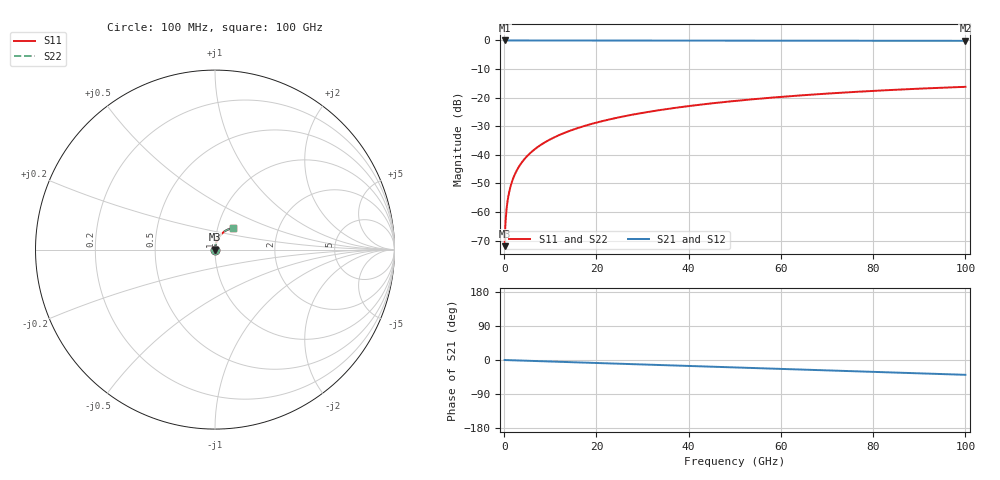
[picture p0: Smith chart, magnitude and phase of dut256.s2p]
! Touchstone file exported from HFSS 2026.1.0
!  File:  C:/ffzhzh/LocalFiles/Ansys_Project_Files/temp_train_TSV_256_1783508406_55944.aedt
!  Generated:  07:01:18 PM Jul  8, 2026
!  Design:  TSV
!  Project:  temp_train_TSV_256_1783508406_55944
! Variables:
!  h_bsmrdl = 2um
!  h_ox = 20um
!  h_rdl = 5um
!  h_sub = 71.85um
!  h_tmrdl = 5um
!  h_tsv = 71.85um
!  h_via = 3um
!  l_bsmrdl = 300um
!  l_sub = 419.28um
!  l_tmrdl = 200um
!  m_sub = 200um
!  pitch = 53.7um
!  r_tsv = 9.64um
!  s_tmrdl = 10um
!  w_bsmrdl = 18um
!  w_sub = 500um
!  w_tmrdl = 12um
!  x_tsv_center1 = 206um
!  x_tsv_center2 = 524um
!  x_tsv_center3 = 736um
!  x_tsv_center4 = 1054um
!  x_tsv_center5 = 1266um
!  x_tsv_center6 = 1584um
# GHz S MA R 50.000000
! Terminal data exported
! Port[1] = TSV1_1_T1
! Port[2] = TSV1_1_T2
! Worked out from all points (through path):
!   1000 points, 100 MHz to 100 GHz, reference 50 ohm
!   highest |S21| = 0.00 dB at 100 MHz (marker M1); lowest = -0.1 dB at 100 GHz (marker M2)
!   group delay of S21, straight-line fit = 1.09 ps
!   lowest |S11| = -72.0 dB at 100 MHz (marker M3), VSWR 1.00, Z = 50 + j0.0221 ohm
!   |S11| at or under -10 dB: start of sweep to end of sweep
!   |S22| runs from -72.0 to -16.2 dB; largest |S21 - S12| = 4.1e-15
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0.1  0.000252 61.1  0.9999 -0.0  0.9999 -0.0  0.000252 61.1
! Gamma 0 0 0 0
! Port Impedance 50 0 50 0
0.3  0.0006679 77.1  0.9999 -0.1  0.9999 -0.1  0.0006679 77.1
0.7  0.001473 81.2  0.9998 -0.3  0.9998 -0.3  0.001473 81.2
0.8  0.001668 81.6  0.9998 -0.3  0.9998 -0.3  0.001668 81.6
1  0.002053 82.3  0.9997 -0.4  0.9997 -0.4  0.002053 82.3
1.3  0.002625 83.0  0.9997 -0.5  0.9997 -0.5  0.002625 83.0
1.7  0.003384 83.6  0.9997 -0.7  0.9997 -0.7  0.003384 83.6
2.3  0.004513 84.1  0.9996 -0.9  0.9996 -0.9  0.004513 84.1
3  0.005819 84.4  0.9995 -1.2  0.9995 -1.2  0.005819 84.4
3.8  0.0073 84.5  0.9995 -1.5  0.9995 -1.5  0.0073 84.5
4.8  0.00914 84.5  0.9994 -1.9  0.9994 -1.9  0.00914 84.5
6  0.01134 84.4  0.9993 -2.4  0.9993 -2.4  0.01134 84.4
8.8  0.01645 83.8  0.9991 -3.5  0.9991 -3.5  0.01645 83.8
12.4  0.02296 82.8  0.9988 -4.9  0.9988 -4.9  0.02296 82.8
16.8  0.03086 81.3  0.9984 -6.6  0.9984 -6.6  0.03086 81.3
24.2  0.04397 78.8  0.9977 -9.6  0.9977 -9.6  0.04397 78.8
33.4  0.05993 75.4  0.9967 -13.2  0.9967 -13.2  0.05993 75.4
41.2  0.07308 72.5  0.9956 -16.2  0.9956 -16.2  0.07308 72.5
50.1  0.08757 69.1  0.9943 -19.7  0.9943 -19.7  0.08757 69.1
66.7  0.1128 62.8  0.9915 -26.2  0.9915 -26.2  0.1128 62.8
83.4  0.1354 56.4  0.9884 -32.7  0.9884 -32.7  0.1354 56.4
100  0.1544 50.1  0.9853 -39.1  0.9853 -39.1  0.1544 50.1
